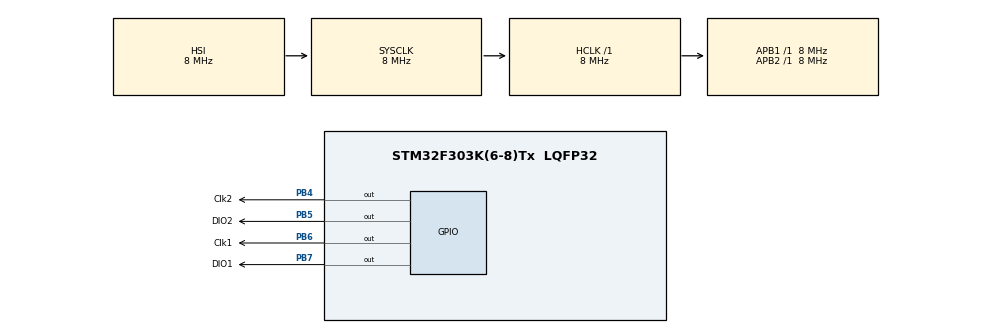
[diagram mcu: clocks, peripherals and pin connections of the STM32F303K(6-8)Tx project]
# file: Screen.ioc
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Mcu.Family=STM32F3
Mcu.Name=STM32F303K(6-8)Tx
Mcu.Package=LQFP32
NVIC.PriorityGroup=NVIC_PRIORITYGROUP_4
PB4.GPIO_Label=Clk2
PB4.GPIO_Speed=GPIO_SPEED_FREQ_HIGH
PB4.Signal=GPIO_Output
PB5.GPIO_Label=DIO2
PB5.GPIO_Speed=GPIO_SPEED_FREQ_HIGH
PB5.Signal=GPIO_Output
PB6.GPIO_Label=Clk1
PB6.GPIO_Speed=GPIO_SPEED_FREQ_HIGH
PB6.Signal=GPIO_Output
PB7.GPIO_Label=DIO1
PB7.GPIO_Speed=GPIO_SPEED_FREQ_HIGH
PB7.Signal=GPIO_Output
ProjectManager.HeapSize=0x200
ProjectManager.StackSize=0x400
ProjectManager.TargetToolchain=STM32CubeIDE
RCC.AHBFreq_Value=8000000
RCC.APB1Freq_Value=8000000
RCC.APB2Freq_Value=8000000
RCC.CortexFreq_Value=8000000
RCC.HSE_VALUE=8000000
RCC.HSI_VALUE=8000000
RCC.SYSCLKFreq_VALUE=8000000
board=custom

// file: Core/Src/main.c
/* USER CODE BEGIN Header */
/**
  ******************************************************************************
  * @file           : main.c
  * @brief          : Main program body
  ******************************************************************************
  * @attention
  *
  * Copyright (c) 2025 STMicroelectronics.
  * All rights reserved.
  *
  * This software is licensed under terms that can be found in the LICENSE file
  * in the root directory of this software component.
  * If no LICENSE file comes with this software, it is provided AS-IS.
  *
  ******************************************************************************
  */
/* USER CODE END Header */
#include "main.h"

/* USER CODE BEGIN Includes */
#include <stdbool.h>
/* USER CODE END Includes */

/* USER CODE BEGIN PV */
uint8_t segments[10] =
{
		0b00111111,
		0b00000110,
		0b01011011,
		0b01001111,
		0b01100110,
		0b01101101,
		0b01111101,
		0b00000111,
		0b01111111,
		0b01100111
};

int Dpins[2] = {DIO1_Pin, DIO2_Pin};
int Cpins[2] = {Clk1_Pin, Clk2_Pin};

void delay_us (int time)
{
	for (int i=0; i<time; i++)
	{
		for (int j=0; j<1; j++)
		{
			__asm__("nop");
		}
	}
}

void data(int set, int pin)
{
	HAL_GPIO_WritePin(GPIOB, Dpins[pin], set);
}

void clock(int set, int pin)
{
	HAL_GPIO_WritePin(GPIOB, Cpins[pin], set);
}

void start (int pin)
{
	clock(1, pin);
	data(1, pin);
	delay_us (2);
	data(0, pin);
}

void stop (int pin)
{
	clock(0, pin);
	delay_us (2);
	data(0, pin);
	delay_us (2);
	clock(1, pin);
	delay_us (2);
	data(1, pin);
}

void ack(int pin)
{
	clock(0, pin);
	delay_us(5);
	clock(1, pin);
	delay_us(2);
	clock(0, pin);
}

void sendByte(uint8_t d, int pin)
{
	for(int i = 0; i < 8; i++)
	{
		clock(0, pin);
		data(d%2, pin);
		delay_us(3);
		d = d >> 1;
		clock(1, pin);
		delay_us(3);
	}
	ack(pin);
}

void brightness(int pin)
{
	start(pin);
	sendByte(0x8A, pin);
	stop(pin);
}

void sendData(int index, uint8_t* d, int size, int pin)
{
	start(pin);
	sendByte(0x40, pin);
	stop(pin);

	start(pin);
	sendByte(192 + index, pin);
	for(int i = 0; i < size; i++) sendByte(d[i], pin);
	stop(pin);
	brightness(pin);
}

void sendNumber(int index, int rIndex, int n, int pin, int size, int colon)
{
	if(size == 0) for(int i = n; i > 0; i/=10) size++;

	uint8_t data[size];
	for(int i = size - 1; i >= 0; i--)
	{
		data[i] = segments[n%10];
		n/=10;
		if(colon != 0 && data[i] < 128) data[i] += 128;
	}

	if(rIndex != 0) index -= size - 1;

	sendData(index, data, size, pin);
}
/* USER CODE END PV */

void SystemClock_Config(void);
static void MX_GPIO_Init(void);

int main(void)
{

  /* MCU Configuration--------------------------------------------------------*/

  /* Reset of all peripherals, Initializes the Flash interface and the Systick. */
  HAL_Init();

  /* Configure the system clock */
  SystemClock_Config();

  /* USER CODE BEGIN SysInit */
  delay_us (2);
  /* USER CODE END SysInit */

  /* Initialize all configured peripherals */
  MX_GPIO_Init();
  /* USER CODE BEGIN 2 */
  //All code copied mostly from https://controllerstech.com/interface-7-segment-display-with-stm32-tm1637/
  uint8_t num = 0;
  uint8_t data[4] = {0, 0, 0, 0};
  int dir = 1;
  int i = 0;

  /* USER CODE END 2 */

  /* Infinite loop */
  while (1)
  {

    /* USER CODE BEGIN 3 */

	  sendNumber(2, 0, (i/1000)%60, 0, 2, 0);
	  sendNumber(0, 0, i/60000, 0, 2, 1);
	  i += 150;
	  HAL_Delay(75);
	  sendData(0, data, 4, 1);
	  HAL_Delay(75);
	  data[0] = data[1];
	  data[1] = data[2];
	  data[2] = data[3];
	  data[3] = num;

	  if(dir > 0)
	  {
		  num = num << 1;
		  num++;
		  if(num == 0xFF) dir = -1;
	  }
	  else
	  {
		  num = num << 1;
		  if(num == 0) dir = 1;
	  }

  }
  /* USER CODE END 3 */
}

void SystemClock_Config(void)
{
  RCC_OscInitTypeDef RCC_OscInitStruct = {0};
  RCC_ClkInitTypeDef RCC_ClkInitStruct = {0};

  /** Initializes the RCC Oscillators according to the specified parameters
  * in the RCC_OscInitTypeDef structure.
  */
  RCC_OscInitStruct.OscillatorType = RCC_OSCILLATORTYPE_HSI;
  RCC_OscInitStruct.HSIState = RCC_HSI_ON;
  RCC_OscInitStruct.HSICalibrationValue = RCC_HSICALIBRATION_DEFAULT;
  RCC_OscInitStruct.PLL.PLLState = RCC_PLL_NONE;
  if (HAL_RCC_OscConfig(&RCC_OscInitStruct) != HAL_OK)
  {
    Error_Handler();
  }

  /** Initializes the CPU, AHB and APB buses clocks
  */
  RCC_ClkInitStruct.ClockType = RCC_CLOCKTYPE_HCLK|RCC_CLOCKTYPE_SYSCLK
                              |RCC_CLOCKTYPE_PCLK1|RCC_CLOCKTYPE_PCLK2;
  RCC_ClkInitStruct.SYSCLKSource = RCC_SYSCLKSOURCE_HSI;
  RCC_ClkInitStruct.AHBCLKDivider = RCC_SYSCLK_DIV1;
  RCC_ClkInitStruct.APB1CLKDivider = RCC_HCLK_DIV1;
  RCC_ClkInitStruct.APB2CLKDivider = RCC_HCLK_DIV1;

  if (HAL_RCC_ClockConfig(&RCC_ClkInitStruct, FLASH_LATENCY_0) != HAL_OK)
  {
    Error_Handler();
  }
}

static void MX_GPIO_Init(void)
{
  GPIO_InitTypeDef GPIO_InitStruct = {0};

  /* GPIO Ports Clock Enable */
  __HAL_RCC_GPIOB_CLK_ENABLE();

  /*Configure GPIO pin Output Level */
  HAL_GPIO_WritePin(GPIOB, Clk2_Pin|DIO2_Pin|Clk1_Pin|DIO1_Pin, GPIO_PIN_RESET);

  /*Configure GPIO pins : Clk2_Pin DIO2_Pin Clk1_Pin DIO1_Pin */
  GPIO_InitStruct.Pin = Clk2_Pin|DIO2_Pin|Clk1_Pin|DIO1_Pin;
  GPIO_InitStruct.Mode = GPIO_MODE_OUTPUT_PP;
  GPIO_InitStruct.Pull = GPIO_NOPULL;
  GPIO_InitStruct.Speed = GPIO_SPEED_FREQ_HIGH;
  HAL_GPIO_Init(GPIOB, &GPIO_InitStruct);

}

void Error_Handler(void)
{
  __disable_irq();
  while (1)
  {
  }
}
